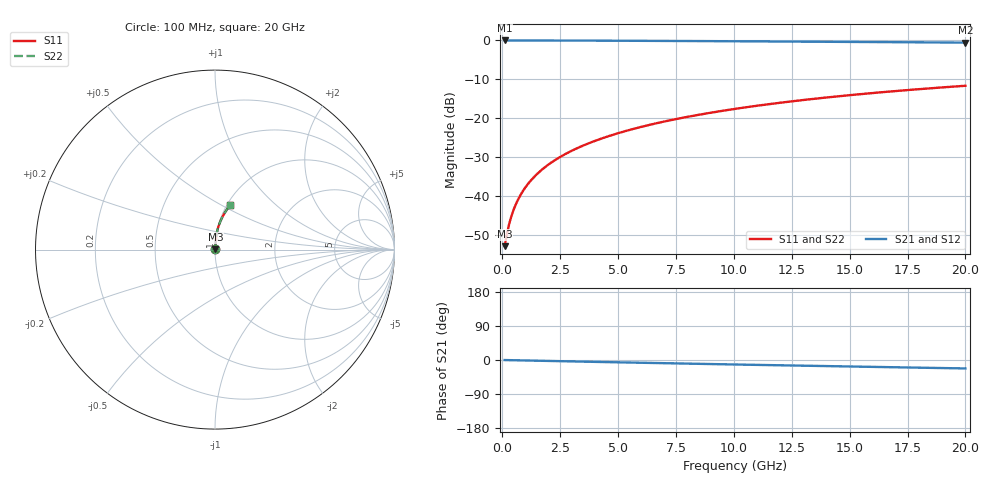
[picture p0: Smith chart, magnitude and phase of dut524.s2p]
! Touchstone file exported from HFSS 2024.1.0
!  File:  C:/UserFiles/LocalFiles/RDL_TSV_Batchsim/temp_RDL_top_524_1779679934.aedt
!  Generated:  11:34:32 AM May 25, 2026
!  Design:  RDL_top
!  Project:  temp_RDL_top_524_1779679934
!  Setup:  Setup1
!  Solution:  Sweep
! Variables:
!  dtsv = 10.80580581um
!  hbump = 3um
!  htsv = 85.27um
!  ldown = 100um
!  lrdl = 262.55um
!  p = 40
!  p1 = 49.77um
!  rhole = 1um
!  t = 450um
!  tdown = 3.915915916um
!  trdl = 3.33um
!  wdown = 15.38538539um
!  wrdl = 16.96um
# GHz S MA R 50.000000
! Terminal data exported
! Port[1] = Box2_T1
! Port[2] = Box2_T2
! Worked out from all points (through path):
!   200 points, 100 MHz to 20 GHz, reference 50 ohm
!   highest |S21| = -0.02 dB at 100 MHz (marker M1); lowest = -0.6 dB at 20 GHz (marker M2)
!   group delay of S21, straight-line fit = 3.08 ps
!   lowest |S11| = -52.9 dB at 100 MHz (marker M3), VSWR 1.00, Z = 50.2 + j0.135 ohm
!   |S11| at or under -10 dB: start of sweep to end of sweep
!   |S22| runs from -52.9 to -11.7 dB; largest |S21 - S12| = 5e-15
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0.1  0.002275 36.1  0.9982 -0.1  0.9982 -0.1  0.002275 36.1
! Gamma 0 0 0 0
! Port Impedance 50 0 50 0
0.2  0.003262 54.7  0.9981 -0.3  0.9981 -0.3  0.003262 54.7
0.3  0.004411 63.9  0.998 -0.4  0.998 -0.4  0.004411 63.9
0.4  0.005607 69.1  0.998 -0.5  0.998 -0.5  0.005607 69.1
0.5  0.006817 72.4  0.9979 -0.6  0.9979 -0.6  0.006817 72.4
0.6  0.008036 74.8  0.9978 -0.8  0.9978 -0.8  0.008035 74.8
0.8  0.01049 78.0  0.9977 -1.0  0.9977 -1.0  0.01049 78.0
1.1  0.0142 80.7  0.9974 -1.4  0.9974 -1.4  0.0142 80.7
1.5  0.0192 82.7  0.9971 -1.9  0.9971 -1.9  0.0192 82.7
1.8  0.02298 83.6  0.9967 -2.3  0.9967 -2.3  0.02298 83.6
2.1  0.02677 84.2  0.9964 -2.6  0.9964 -2.6  0.02677 84.2
2.7  0.03441 84.9  0.9955 -3.4  0.9955 -3.4  0.03441 84.9
3.5  0.04469 85.3  0.994 -4.3  0.994 -4.3  0.04469 85.3
4.2  0.05377 85.3  0.9925 -5.2  0.9925 -5.2  0.05377 85.3
5  0.06425 85.1  0.9905 -6.1  0.9905 -6.1  0.06425 85.1
5.9  0.07615 84.6  0.988 -7.2  0.988 -7.2  0.07615 84.6
6.8  0.08816 84.1  0.9854 -8.2  0.9854 -8.2  0.08816 84.1
8.3  0.1083 82.9  0.9806 -9.9  0.9806 -9.9  0.1083 82.9
10.1  0.1326 81.3  0.9744 -11.9  0.9744 -11.9  0.1326 81.3
13.4  0.1769 78.0  0.9625 -15.5  0.9625 -15.5  0.1769 78.0
16.7  0.2199 74.5  0.9497 -18.9  0.9497 -18.9  0.22 74.5
20  0.2613 71.0  0.9362 -22.3  0.9362 -22.3  0.2613 71.0
